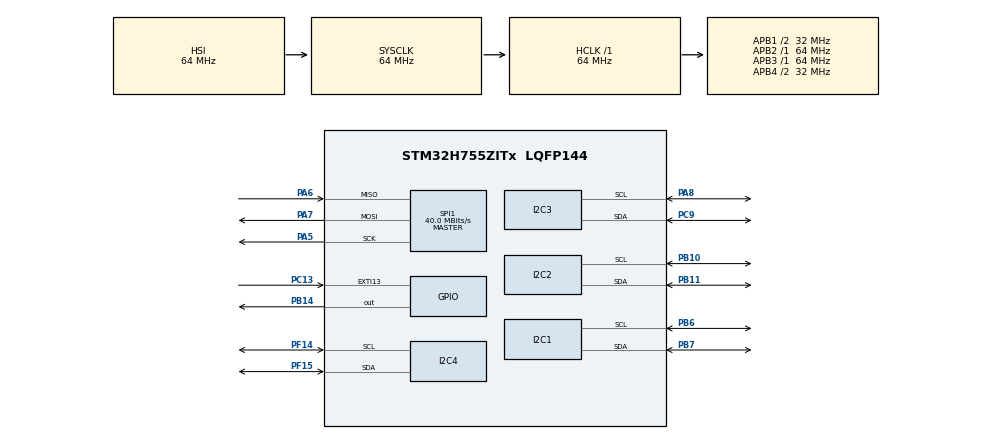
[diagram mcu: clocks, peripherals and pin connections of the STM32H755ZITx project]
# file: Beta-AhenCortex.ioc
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CortexM4.IPs=FATFS_M4\:I,FREERTOS_M4\:I,IWDG2\:I,RCC,WWDG2\:I,DMA,BDMA,MDMA,NVIC2\:I,ETH,DEBUG,PDM2PCM_M4\:I,PWR,RESMGR_UTILITY,SYS_M4\:I,USB_DEVICE_M4\:I,USB_HOST_M4\:I,CORTEX_M4\:I,GPIO,OPENAMP_M4\:I,VREFBUF
CortexM7.IPs=FATFS_M7\:I,FREERTOS_M7\:I,IWDG1\:I,RCC\:I,WWDG1\:I,DMA\:I,BDMA\:I,MDMA\:I,NVIC1\:I,ETH\:I,SYS\:I,CORTEX_M7\:I,DEBUG\:I,PDM2PCM_M7\:I,PWR\:I,RESMGR_UTILITY\:I,USB_DEVICE_M7\:I,USB_HOST_M7\:I,GPIO\:I,OPENAMP_M7\:I,VREFBUF\:I,I2C1\:I,I2C2\:I,TIM1\:I,I2C3\:I,I2C4\:I,SPI1\:I
CortexM7.Pins=PC13
I2C1.Timing=0x00707CBB
I2C2.Timing=0x00707CBB
I2C3.Timing=0x00707CBB
I2C4.Timing=0x00707CBB
Mcu.Family=STM32H7
Mcu.Name=STM32H755ZITx
Mcu.Package=LQFP144
NVIC1.EXTI15_10_IRQn=true\:0\:0\:false\:false\:true\:true\:true\:true
NVIC1.PriorityGroup=NVIC_PRIORITYGROUP_4
NVIC1.TIM1_UP_IRQn=true\:0\:0\:false\:false\:true\:true\:true\:true
NVIC2.PriorityGroup=NVIC_PRIORITYGROUP_4
PA5.Mode=Full_Duplex_Master
PA5.PinAttribute=CortexM7
PA5.Signal=SPI1_SCK
PA6.Mode=Full_Duplex_Master
PA6.PinAttribute=CortexM7
PA6.Signal=SPI1_MISO
PA7.Mode=Full_Duplex_Master
PA7.PinAttribute=CortexM7
PA7.Signal=SPI1_MOSI
PA8.Mode=I2C
PA8.PinAttribute=CortexM7
PA8.Signal=I2C3_SCL
PB10.Mode=I2C
PB10.PinAttribute=CortexM7
PB10.Signal=I2C2_SCL
PB11.Mode=I2C
PB11.PinAttribute=CortexM7
PB11.Signal=I2C2_SDA
PB14.PinAttribute=Free
PB14.Signal=GPIO_Output
PB6.Mode=I2C
PB6.PinAttribute=CortexM7
PB6.Signal=I2C1_SCL
PB7.Mode=I2C
PB7.PinAttribute=CortexM7
PB7.Signal=I2C1_SDA
PC13.GPIO_ModeDefaultEXTI=GPIO_MODE_IT_FALLING
PC13.PinAttribute=CortexM7
PC13.Signal=GPXTI13
PC14-OSC32_IN\ (OSC32_IN).PinAttribute=Free
PC14-OSC32_IN\ (OSC32_IN).Signal=RCC_OSC32_IN
PC15-OSC32_OUT\ (OSC32_OUT).PinAttribute=Free
PC15-OSC32_OUT\ (OSC32_OUT).Signal=RCC_OSC32_OUT
PC9.Mode=I2C
PC9.PinAttribute=CortexM7
PC9.Signal=I2C3_SDA
PF14.Mode=I2C
PF14.PinAttribute=CortexM7
PF14.Signal=I2C4_SCL
PF15.Mode=I2C
PF15.PinAttribute=CortexM7
PF15.Signal=I2C4_SDA
ProjectManager.HeapSize=M4-0x200,M7-0x200
ProjectManager.StackSize=M4-0x400,M7-0x400
ProjectManager.TargetToolchain=STM32CubeIDE
RCC.ADCFreq_Value=129000000
RCC.APB1Freq_Value=32000000
RCC.APB2Freq_Value=64000000
RCC.APB3Freq_Value=64000000
RCC.APB4Freq_Value=32000000
RCC.CortexFreq_Value=64000000
RCC.D2PPRE1=RCC_APB1_DIV2
RCC.D3PPRE=RCC_APB4_DIV2
RCC.DIVM1=4
RCC.DIVN1=10
RCC.HCLKFreq_Value=64000000
RCC.PLL2FRACN=0
RCC.PLL3FRACN=0
RCC.PLLFRACN=0
RCC.SYSCLKFreq_VALUE=64000000
RCC.SupplySource=PWR_DIRECT_SMPS_SUPPLY
RCC.USBFreq_Value=80000000
SPI1.CalculateBaudRate=40.0 MBits/s
SPI1.Direction=SPI_DIRECTION_2LINES
SPI1.Mode=SPI_MODE_MASTER
SPI1.VirtualType=VM_MASTER
TIM1.Period=999
TIM1.Prescaler=639
VP_FATFS_M7_VS_Generic.Mode=User_defined
VP_SYS_M4_VS_Systick.Mode=SysTick
VP_TIM1_VS_ClockSourceINT.Mode=Internal
board=NUCLEO-H755ZI-Q

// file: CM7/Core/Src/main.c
/* USER CODE BEGIN Header */
/**
  ******************************************************************************
  * @file           : main.c
  * @brief          : Main program body
  ******************************************************************************
  * @attention
  *
  * Copyright (c) 2026 STMicroelectronics.
  * All rights reserved.
  *
  * This software is licensed under terms that can be found in the LICENSE file
  * in the root directory of this software component.
  * If no LICENSE file comes with this software, it is provided AS-IS.
  *
  ******************************************************************************
  */
/* USER CODE END Header */
#include "main.h"
#include "fatfs.h"
#include "i2c.h"
#include "spi.h"
#include "tim.h"
#include "gpio.h"

/* USER CODE BEGIN Includes */
/*
 * CONFIGURACIÓN CUBEMX COMPLETADA:
 * - TIM1: PSC=639, ARR=999 → 100Hz. Update Interrupt habilitado.
 * - PC13: GPIO_EXTI13 Falling Edge. EXTI15_10_IRQn habilitado.
 * - FatFs: Middleware FATFS User-defined. _USE_STRFUNC=2 en ffconf.h.
 * - SPI1: DataSize corregido a 8 bits en spi.c (USER CODE SPI1_Init 2).
 * - PB14 (LD3): Init manual en USER CODE BEGIN 2 (no en CubeMX).
 * - PA4 (SD_CS): Init manual en user_diskio.c.
 */
/* fatfs.h y tim.h ya incluidos arriba por CubeMX; solo añadir stdlib */
#include <string.h>
#include <stdio.h>
/* USER CODE END Includes */

/* USER CODE BEGIN PTD */

/* Estructura para el estado de cada encoder magnético AS5600 */
typedef struct {
    I2C_HandleTypeDef *hi2c;      /* Handle del bus I2C asociado              */
    uint16_t raw_angle;           /* Ángulo raw actual (0-4095)               */
    uint16_t prev_raw_angle;      /* Ángulo raw anterior (cálculo velocidad)  */
    float    position_deg;        /* Posición convertida a grados (0 - 360)   */
    float    velocity_dps;        /* Velocidad angular [grados/s]             */
    int16_t  offset;              /* Offset de calibración [counts] (opcional)*/
} AS5600_t;

/* Estructura para una muestra completa de telemetría */
typedef struct {
    uint32_t timestamp_ms;        /* Marca de tiempo [ms] (HAL_GetTick)       */
    float    position[4];         /* Posiciones de los 4 encoders [grados]    */
    float    velocity[4];         /* Velocidades de los 4 encoders [grados/s] */
} TelemetryData_t;

/* USER CODE END PTD */

/* USER CODE BEGIN PD */

/* DUAL_CORE_BOOT_SYNC_SEQUENCE: Define for dual core boot synchronization    */
/*                             demonstration code based on hardware semaphore */
/* This define is present in both CM7/CM4 projects                            */
/* To comment when developping/debugging on a single core                     */
#define DUAL_CORE_BOOT_SYNC_SEQUENCE

#if defined(DUAL_CORE_BOOT_SYNC_SEQUENCE)
#ifndef HSEM_ID_0
#define HSEM_ID_0 (0U) /* HW semaphore 0*/
#endif
#endif /* DUAL_CORE_BOOT_SYNC_SEQUENCE */

/* --- Definiciones del encoder AS5600 --- */
#define AS5600_I2C_ADDR          (0x36 << 1)         /* Dir. I2C left-shifted para HAL */
#define AS5600_REG_RAW_ANGLE     0x0C                 /* Registro Raw Angle High        */
#define AS5600_RESOLUTION        4096                 /* Resolución 12 bits             */
#define AS5600_HALF_RESOLUTION   2048                 /* Mitad (detección wrap-around)   */
#define DEG_PER_COUNT            (360.0f / 4096.0f)   /* Grados por count               */
#define NUM_ENCODERS             4

/* --- Configuración de muestreo y buffer --- */
#define SAMPLE_RATE_HZ           100.0f               /* Frecuencia del TIM1 [Hz]       */
#define TELEM_BUF_SIZE           50                   /* Tamaño del buffer de telemetría*/
#define TELEM_FLUSH_THRESHOLD    25                   /* Umbral para volcado a SD       */

/* --- LED de error (LD3 rojo en NUCLEO-H755ZI-Q = PB14) --- */
#define LED_ERROR_PORT           GPIOB
#define LED_ERROR_PIN            GPIO_PIN_14

/* --- Anti-rebote del botón [ms] --- */
#define DEBOUNCE_TIME_MS         250

/* USER CODE END PD */

/* USER CODE BEGIN PV */

/* ---- Encoders AS5600 ---- */
static AS5600_t encoders[NUM_ENCODERS];

/* ---- Buffer de telemetría (doble buffer: ISR escribe, main copia y vuelca) ---- */
static TelemetryData_t telem_buffer[TELEM_BUF_SIZE];    /* Buffer principal (ISR)    */
static TelemetryData_t telem_sd_copy[TELEM_BUF_SIZE];   /* Copia segura para SD      */
static volatile uint16_t telem_write_idx   = 0;         /* Índice de escritura (ISR)  */
static volatile uint8_t  buffer_ready_flag = 0;         /* Flag: datos listos para SD */
static uint16_t telem_flush_count          = 0;         /* Nº muestras a volcar       */

/* ---- Control de grabación y botón ---- */
static volatile uint8_t is_recording      = 0;          /* 1=grabando, 0=detenido     */
static volatile uint8_t button_event_flag = 0;          /* Flag: botón presionado      */
static uint32_t last_button_tick          = 0;          /* Tick anti-rebote            */

/* ---- FatFs / Tarjeta SD ---- */
static FATFS    sd_fatfs;                                /* Objeto sistema de archivos  */
static FIL      sd_file;                                 /* Archivo CSV abierto         */
static uint16_t log_file_number = 0;                     /* Número secuencial del log   */
static uint8_t  sd_mounted      = 0;                     /* 1=SD montada correctamente  */

/* USER CODE END PV */

void SystemClock_Config(void);
/* USER CODE BEGIN PFP */

/* Funciones del AS5600 */
static HAL_StatusTypeDef AS5600_ReadRawAngle(AS5600_t *enc, uint16_t *raw_angle);
static void     AS5600_UpdateVelocity(AS5600_t *enc);
static void     AS5600_InitAll(void);

/* Funciones de la tarjeta SD / FatFs */
static uint8_t  SD_MountAndCheck(void);
static uint8_t  SD_OpenNewLogFile(void);
static void     SD_WriteBufferToFile(uint16_t count);
static void     SD_FlushAndClose(void);

/* USER CODE END PFP */

/* USER CODE BEGIN 0 */

/* ==========================================================================
 *  FUNCIONES DE LECTURA DEL AS5600
 * ========================================================================== */

/**
 * @brief  Lee el ángulo raw (registro 0x0C, 2 bytes) de un encoder AS5600.
 * @param  enc       Puntero a la estructura del encoder.
 * @param  raw_angle Puntero donde se almacenará el valor (0-4095).
 * @retval HAL_StatusTypeDef
 * @note   Lectura bloqueante rápida (~200µs a 100kHz I2C, timeout 2ms).
 *         Cada encoder tiene su propio bus I2C → sin conflicto entre lecturas.
 */
static HAL_StatusTypeDef AS5600_ReadRawAngle(AS5600_t *enc, uint16_t *raw_angle)
{
    uint8_t buf[2] = {0};
    HAL_StatusTypeDef status;

    status = HAL_I2C_Mem_Read(enc->hi2c, AS5600_I2C_ADDR,
                              AS5600_REG_RAW_ANGLE, I2C_MEMADD_SIZE_8BIT,
                              buf, 2, 2);
    if (status == HAL_OK)
    {
        /* Registro 0x0C: bits [11:8], Registro 0x0D: bits [7:0] */
        *raw_angle = ((uint16_t)(buf[0] & 0x0F) << 8) | buf[1];
    }
    return status;
}

/**
 * @brief  Calcula la velocidad angular con manejo correcto de wrap-around.
 * @param  enc Puntero a la estructura del encoder.
 * @note   El wrap-around ocurre al cruzar el punto 0/4095:
 *         - Si delta > +2048 → giro negativo cruzando 0 (ej: 4090→5)
 *         - Si delta < -2048 → giro positivo cruzando 4095 (ej: 5→4090)
 */
static void AS5600_UpdateVelocity(AS5600_t *enc)
{
    int32_t delta = (int32_t)enc->raw_angle - (int32_t)enc->prev_raw_angle;

    /* Corrección del wrap-around */
    if (delta > AS5600_HALF_RESOLUTION)
    {
        delta -= AS5600_RESOLUTION;
    }
    else if (delta < -AS5600_HALF_RESOLUTION)
    {
        delta += AS5600_RESOLUTION;
    }

    /* Vel [°/s] = delta_counts × (°/count) × freq_muestreo */
    enc->velocity_dps = (float)delta * DEG_PER_COUNT * SAMPLE_RATE_HZ;

    /* Posición actual en grados (0° a ~360°) */
    enc->position_deg = (float)enc->raw_angle * DEG_PER_COUNT;
}

/**
 * @brief  Inicializa los 4 encoders: asigna buses I2C y realiza lectura inicial.
 */
static void AS5600_InitAll(void)
{
    encoders[0].hi2c = &hi2c1;
    encoders[1].hi2c = &hi2c2;
    encoders[2].hi2c = &hi2c3;
    encoders[3].hi2c = &hi2c4;

    for (uint8_t i = 0; i < NUM_ENCODERS; i++)
    {
        encoders[i].offset       = 0;
        encoders[i].velocity_dps = 0.0f;
        encoders[i].position_deg = 0.0f;

        /* Lectura inicial para tener un prev_raw_angle válido */
        uint16_t raw = 0;
        if (AS5600_ReadRawAngle(&encoders[i], &raw) == HAL_OK)
        {
            encoders[i].raw_angle      = raw;
            encoders[i].prev_raw_angle = raw;
        }
        else
        {
            encoders[i].raw_angle      = 0;
            encoders[i].prev_raw_angle = 0;
        }
    }
}

/* ==========================================================================
 *  FUNCIONES DE LA TARJETA SD / FatFs
 * ========================================================================== */

/**
 * @brief  Monta el sistema de archivos FAT en la tarjeta SD.
 * @retval 1=éxito, 0=error (enciende LED de error).
 */
static uint8_t SD_MountAndCheck(void)
{
    FRESULT fres = f_mount(&sd_fatfs, "", 1);  /* "" = drive 0, montaje inmediato */
    if (fres != FR_OK)
    {
        HAL_GPIO_WritePin(LED_ERROR_PORT, LED_ERROR_PIN, GPIO_PIN_SET);
        sd_mounted = 0;
        return 0;
    }
    HAL_GPIO_WritePin(LED_ERROR_PORT, LED_ERROR_PIN, GPIO_PIN_RESET);
    sd_mounted = 1;
    return 1;
}

/**
 * @brief  Crea/abre un nuevo archivo CSV con nombre secuencial.
 * @retval 1=éxito, 0=error.
 */
static uint8_t SD_OpenNewLogFile(void)
{
    FRESULT fres;
    char filename[16];

    /* Buscar el siguiente número de archivo disponible */
    do
    {
        log_file_number++;
        if (log_file_number > 999) log_file_number = 1;
        snprintf(filename, sizeof(filename), "log_%03u.csv", log_file_number);
        fres = f_stat(filename, NULL);
    } while (fres == FR_OK);

    /* Crear el archivo */
    fres = f_open(&sd_file, filename, FA_CREATE_ALWAYS | FA_WRITE);
    if (fres != FR_OK)
    {
        HAL_GPIO_WritePin(LED_ERROR_PORT, LED_ERROR_PIN, GPIO_PIN_SET);
        return 0;
    }

    /* Escribir cabecera del CSV (requiere FF_USE_STRFUNC >= 1 en ffconf.h) */
    f_printf(&sd_file,
             "timestamp_ms,"
             "pos1_deg,pos2_deg,pos3_deg,pos4_deg,"
             "vel1_dps,vel2_dps,vel3_dps,vel4_dps\n");
    f_sync(&sd_file);

    return 1;
}

/**
 * @brief  Escribe 'count' muestras del buffer secundario al archivo CSV.
 * @param  count Número de muestras a escribir desde telem_sd_copy[].
 * @note   Formateo entero (×100) → sin necesidad de '-u _printf_float'.
 *         Ej línea: "12345,180.50,90.25,270.75,0.00,500.00,-120.30,0.00,80.10"
 */
static void SD_WriteBufferToFile(uint16_t count)
{
    if (!sd_mounted || count == 0) return;

    char line[160];
    UINT bw;

    for (uint16_t i = 0; i < count; i++)
    {
        TelemetryData_t *s = &telem_sd_copy[i];
        int len = 0;

        /* Timestamp */
        len += sprintf(&line[len], "%lu,", (unsigned long)s->timestamp_ms);

        /* 4 posiciones [grados] */
        for (uint8_t j = 0; j < 4; j++)
        {
            int32_t sc = (int32_t)(s->position[j] * 100.0f);
            if (sc < 0) { line[len++] = '-'; sc = -sc; }
            len += sprintf(&line[len], "%ld.%02ld,",
                           (long)(sc / 100), (long)(sc % 100));
        }

        /* 4 velocidades [grados/s] */
        for (uint8_t j = 0; j < 4; j++)
        {
            int32_t sc = (int32_t)(s->velocity[j] * 100.0f);
            if (sc < 0) { line[len++] = '-'; sc = -sc; }
            len += sprintf(&line[len], "%ld.%02ld",
                           (long)(sc / 100), (long)(sc % 100));
            if (j < 3) line[len++] = ',';
        }

        line[len++] = '\n';

        if (f_write(&sd_file, line, (UINT)len, &bw) != FR_OK)
        {
            HAL_GPIO_WritePin(LED_ERROR_PORT, LED_ERROR_PIN, GPIO_PIN_SET);
            break;
        }
    }
    f_sync(&sd_file);
}

/**
 * @brief  Vuelca datos remanentes y cierra el archivo CSV.
 */
static void SD_FlushAndClose(void)
{
    /* Capturar datos remanentes en sección crítica */
    __disable_irq();
    uint16_t remaining = telem_write_idx;
    if (remaining > 0)
    {
        memcpy(telem_sd_copy, telem_buffer,
               remaining * sizeof(TelemetryData_t));
    }
    telem_write_idx   = 0;
    buffer_ready_flag = 0;
    __enable_irq();

    if (remaining > 0)
    {
        SD_WriteBufferToFile(remaining);
    }
    f_close(&sd_file);
}

/* ==========================================================================
 *  CALLBACKS DE HAL (interrupción de botón y timer)
 * ========================================================================== */

/**
 * @brief  Callback de interrupción externa (botón de usuario PC13).
 * @note   Solo señaliza al main loop con anti-rebote por software.
 *         El manejo de FatFs se realiza en el while(1), NO aquí.
 */
void HAL_GPIO_EXTI_Callback(uint16_t GPIO_Pin)
{
    if (GPIO_Pin == GPIO_PIN_13)
    {
        uint32_t now = HAL_GetTick();
        if ((now - last_button_tick) >= DEBOUNCE_TIME_MS)
        {
            last_button_tick = now;
            button_event_flag = 1;
        }
    }
}

/**
 * @brief  Callback del timer TIM1 (100Hz). Muestrea los 4 encoders.
 * @note   NO escribe en la SD. Solo llena el buffer y señaliza al main loop.
 */
void HAL_TIM_PeriodElapsedCallback(TIM_HandleTypeDef *htim)
{
    if (htim->Instance != TIM1) return;
    if (!is_recording) return;
    if (telem_write_idx >= TELEM_BUF_SIZE) return;  /* Buffer lleno, descartar */

    /* Leer los 4 encoders y calcular velocidad */
    for (uint8_t i = 0; i < NUM_ENCODERS; i++)
    {
        encoders[i].prev_raw_angle = encoders[i].raw_angle;
        uint16_t raw = 0;
        if (AS5600_ReadRawAngle(&encoders[i], &raw) == HAL_OK)
        {
            encoders[i].raw_angle = raw;
        }
        /* Si falla la lectura, se conserva el valor anterior */
        AS5600_UpdateVelocity(&encoders[i]);
    }

    /* Almacenar muestra en el buffer */
    TelemetryData_t *sample = &telem_buffer[telem_write_idx];
    sample->timestamp_ms = HAL_GetTick();
    for (uint8_t i = 0; i < NUM_ENCODERS; i++)
    {
        sample->position[i] = encoders[i].position_deg;
        sample->velocity[i] = encoders[i].velocity_dps;
    }
    telem_write_idx++;

    /* Señalizar al main loop cuando se alcanza el umbral */
    if (telem_write_idx >= TELEM_FLUSH_THRESHOLD && !buffer_ready_flag)
    {
        buffer_ready_flag = 1;
    }
}

/* USER CODE END 0 */

int main(void)
{

/* USER CODE BEGIN Boot_Mode_Sequence_0 */
#if defined(DUAL_CORE_BOOT_SYNC_SEQUENCE)
  int32_t timeout;
#endif /* DUAL_CORE_BOOT_SYNC_SEQUENCE */
/* USER CODE END Boot_Mode_Sequence_0 */

/* USER CODE BEGIN Boot_Mode_Sequence_1 */
#if defined(DUAL_CORE_BOOT_SYNC_SEQUENCE)
  /* Wait until CPU2 boots and enters in stop mode or timeout*/
  timeout = 0xFFFF;
  while((__HAL_RCC_GET_FLAG(RCC_FLAG_D2CKRDY) != RESET) && (timeout-- > 0));
  if ( timeout < 0 )
  {
  Error_Handler();
  }
#endif /* DUAL_CORE_BOOT_SYNC_SEQUENCE */
/* USER CODE END Boot_Mode_Sequence_1 */
  /* MCU Configuration--------------------------------------------------------*/

  /* Reset of all peripherals, Initializes the Flash interface and the Systick. */
  HAL_Init();

  /* Configure the system clock */
  SystemClock_Config();
/* USER CODE BEGIN Boot_Mode_Sequence_2 */
#if defined(DUAL_CORE_BOOT_SYNC_SEQUENCE)
/* When system initialization is finished, Cortex-M7 will release Cortex-M4 by means of
HSEM notification */
/*HW semaphore Clock enable*/
__HAL_RCC_HSEM_CLK_ENABLE();
/*Take HSEM */
HAL_HSEM_FastTake(HSEM_ID_0);
/*Release HSEM in order to notify the CPU2(CM4)*/
HAL_HSEM_Release(HSEM_ID_0,0);
/* wait until CPU2 wakes up from stop mode */
timeout = 0xFFFF;
while((__HAL_RCC_GET_FLAG(RCC_FLAG_D2CKRDY) == RESET) && (timeout-- > 0));
if ( timeout < 0 )
{
Error_Handler();
}
#endif /* DUAL_CORE_BOOT_SYNC_SEQUENCE */
/* USER CODE END Boot_Mode_Sequence_2 */

  /* Initialize all configured peripherals */
  MX_GPIO_Init();
  MX_I2C1_Init();
  MX_I2C2_Init();
  MX_I2C3_Init();
  MX_I2C4_Init();
  MX_SPI1_Init();
  MX_TIM1_Init();
  MX_FATFS_Init();
  /* USER CODE BEGIN 2 */

  /* Configurar PB14 (LD3 rojo) como GPIO Output para LED de error.
   * El clock de GPIOB ya está habilitado por MX_GPIO_Init (pins I2C). */
  {
    GPIO_InitTypeDef gpio_led = {0};
    gpio_led.Pin   = LED_ERROR_PIN;
    gpio_led.Mode  = GPIO_MODE_OUTPUT_PP;
    gpio_led.Pull  = GPIO_NOPULL;
    gpio_led.Speed = GPIO_SPEED_FREQ_LOW;
    HAL_GPIO_Init(LED_ERROR_PORT, &gpio_led);
    HAL_GPIO_WritePin(LED_ERROR_PORT, LED_ERROR_PIN, GPIO_PIN_RESET);
  }

  /* Inicializar estructuras de los 4 encoders AS5600 */
  AS5600_InitAll();

  /* Intentar montar la tarjeta SD */
  if (!SD_MountAndCheck())
  {
    /* La SD no se pudo montar. LED de error encendido.
     * El sistema continúa pero la grabación no estará disponible. */
  }

  /* Iniciar TIM1 con interrupción de Update a 100Hz */
  HAL_TIM_Base_Start_IT(&htim1);

  /* USER CODE END 2 */

  /* Infinite loop */
  while (1)
  {

    /* USER CODE BEGIN 3 */

    /* ---- Manejo del evento de botón (inicio/parada de grabación) ---- */
    if (button_event_flag)
    {
      button_event_flag = 0;

      if (!is_recording)
      {
        /* Iniciar grabación: abrir nuevo archivo CSV */
        if (sd_mounted && SD_OpenNewLogFile())
        {
          __disable_irq();
          telem_write_idx   = 0;
          buffer_ready_flag = 0;
          __enable_irq();

          is_recording = 1;
          HAL_GPIO_WritePin(LED_ERROR_PORT, LED_ERROR_PIN, GPIO_PIN_RESET);
        }
        else
        {
          /* Error al abrir archivo: señalizar con LED */
          HAL_GPIO_WritePin(LED_ERROR_PORT, LED_ERROR_PIN, GPIO_PIN_SET);
        }
      }
      else
      {
        /* Detener grabación: vaciar buffer remanente y cerrar archivo */
        is_recording = 0;
        SD_FlushAndClose();
      }
    }

    /* ---- Volcado del buffer de telemetría a la SD ---- */
    if (buffer_ready_flag && is_recording)
    {
      /* Sección crítica: copiar datos y reiniciar buffer para la ISR */
      __disable_irq();
      telem_flush_count = telem_write_idx;
      memcpy(telem_sd_copy, telem_buffer,
             telem_flush_count * sizeof(TelemetryData_t));
      telem_write_idx   = 0;
      buffer_ready_flag = 0;
      __enable_irq();

      /* Escribir datos copiados al CSV (fuera de sección crítica) */
      SD_WriteBufferToFile(telem_flush_count);
    }

  }
  /* USER CODE END 3 */
}

void SystemClock_Config(void)
{
  RCC_OscInitTypeDef RCC_OscInitStruct = {0};
  RCC_ClkInitTypeDef RCC_ClkInitStruct = {0};

  /** Supply configuration update enable
  */
  HAL_PWREx_ConfigSupply(PWR_DIRECT_SMPS_SUPPLY);

  /** Configure the main internal regulator output voltage
  */
  __HAL_PWR_VOLTAGESCALING_CONFIG(PWR_REGULATOR_VOLTAGE_SCALE3);

  while(!__HAL_PWR_GET_FLAG(PWR_FLAG_VOSRDY)) {}

  /** Initializes the RCC Oscillators according to the specified parameters
  * in the RCC_OscInitTypeDef structure.
  */
  RCC_OscInitStruct.OscillatorType = RCC_OSCILLATORTYPE_HSI;
  RCC_OscInitStruct.HSIState = RCC_HSI_DIV1;
  RCC_OscInitStruct.HSICalibrationValue = RCC_HSICALIBRATION_DEFAULT;
  RCC_OscInitStruct.PLL.PLLState = RCC_PLL_ON;
  RCC_OscInitStruct.PLL.PLLSource = RCC_PLLSOURCE_HSI;
  RCC_OscInitStruct.PLL.PLLM = 4;
  RCC_OscInitStruct.PLL.PLLN = 10;
  RCC_OscInitStruct.PLL.PLLP = 2;
  RCC_OscInitStruct.PLL.PLLQ = 2;
  RCC_OscInitStruct.PLL.PLLR = 2;
  RCC_OscInitStruct.PLL.PLLRGE = RCC_PLL1VCIRANGE_3;
  RCC_OscInitStruct.PLL.PLLVCOSEL = RCC_PLL1VCOMEDIUM;
  RCC_OscInitStruct.PLL.PLLFRACN = 0;
  if (HAL_RCC_OscConfig(&RCC_OscInitStruct) != HAL_OK)
  {
    Error_Handler();
  }

  /** Initializes the CPU, AHB and APB buses clocks
  */
  RCC_ClkInitStruct.ClockType = RCC_CLOCKTYPE_HCLK|RCC_CLOCKTYPE_SYSCLK
                              |RCC_CLOCKTYPE_PCLK1|RCC_CLOCKTYPE_PCLK2
                              |RCC_CLOCKTYPE_D3PCLK1|RCC_CLOCKTYPE_D1PCLK1;
  RCC_ClkInitStruct.SYSCLKSource = RCC_SYSCLKSOURCE_HSI;
  RCC_ClkInitStruct.SYSCLKDivider = RCC_SYSCLK_DIV1;
  RCC_ClkInitStruct.AHBCLKDivider = RCC_HCLK_DIV1;
  RCC_ClkInitStruct.APB3CLKDivider = RCC_APB3_DIV1;
  RCC_ClkInitStruct.APB1CLKDivider = RCC_APB1_DIV2;
  RCC_ClkInitStruct.APB2CLKDivider = RCC_APB2_DIV1;
  RCC_ClkInitStruct.APB4CLKDivider = RCC_APB4_DIV2;

  if (HAL_RCC_ClockConfig(&RCC_ClkInitStruct, FLASH_LATENCY_1) != HAL_OK)
  {
    Error_Handler();
  }
}

void Error_Handler(void)
{
  __disable_irq();
  while (1)
  {
  }
}
